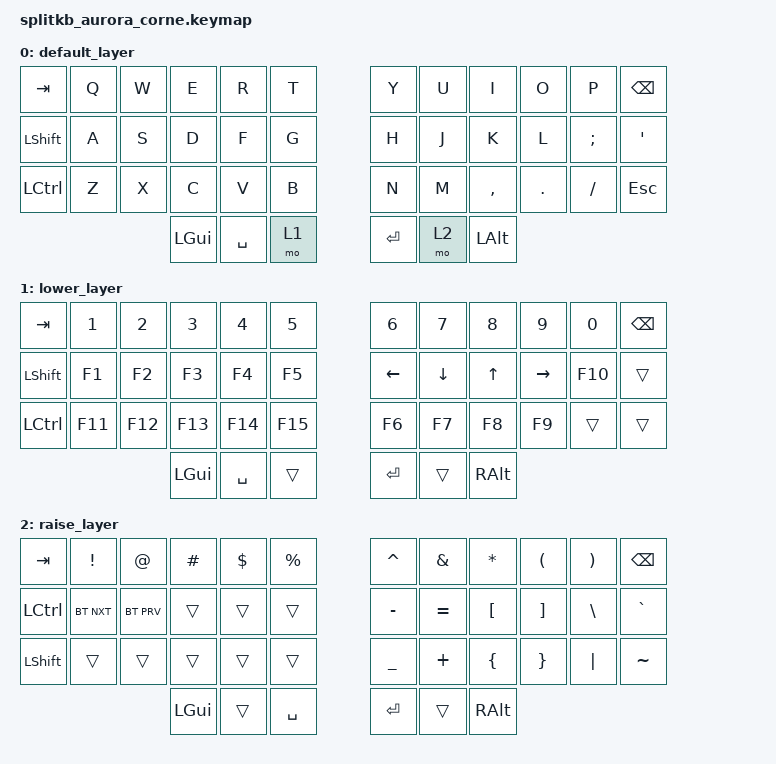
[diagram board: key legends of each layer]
/*
 * Copyright (c) 2020 The ZMK Contributors
 *
 * SPDX-License-Identifier: MIT
 */

#include <behaviors.dtsi>
#include <dt-bindings/zmk/bt.h>
#include <dt-bindings/zmk/keys.h>

/ {
    keymap {
        compatible = "zmk,keymap";

        default_layer {
            // -----------------------------------------------------------------------------------------
            // |  TAB |  Q  |  W  |  E  |  R  |  T  |   |  Y  |  U   |  I  |  O  |  P  | BSPC |
            // | CTRL |  A  |  S  |  D  |  F  |  G  |   |  H  |  J   |  K  |  L  |  ;  |  '   |
            // | SHFT |  Z  |  X  |  C  |  V  |  B  |   |  N  |  M   |  ,  |  .  |  /  | ESC  |
            //                    | GUI | LWR | SPC |   | ENT | RSE  | ALT |

            bindings = <
&kp TAB           &kp Q  &kp W  &kp E     &kp R      &kp T    &kp Y    &kp U  &kp I         &kp O    &kp P     &kp BSPC
&kp LEFT_SHIFT    &kp A  &kp S  &kp D     &kp F      &kp G    &kp H    &kp J  &kp K         &kp L    &kp SEMI  &kp SQT
&kp LEFT_CONTROL  &kp Z  &kp X  &kp C     &kp V      &kp B    &kp N    &kp M  &kp COMMA     &kp DOT  &kp FSLH  &kp ESC
                                &kp LGUI  &kp SPACE  &mo 1    &kp RET  &mo 2  &kp LEFT_ALT
            >;
        };

        lower_layer {
            // -----------------------------------------------------------------------------------------
            // |  TAB |  1  |  2  |  3  |  4  |  5  |   |  6  |  7  |  8  |  9  |  0  | BSPC |
            // | BTCLR| BT1 | BT2 | BT3 | BT4 | BT5 |   | LFT | DWN |  UP | RGT |     |      |
            // | SHFT |     |     |     |     |     |   |     |     |     |     |     |      |
            //                    | GUI |     | SPC |   | ENT |     | ALT |

            bindings = <
&kp TAB           &kp N1   &kp N2   &kp N3    &kp N4     &kp N5     &kp N6    &kp N7    &kp N8        &kp N9     &kp N0   &kp BSPC
&kp LEFT_SHIFT    &kp F1   &kp F2   &kp F3    &kp F4     &kp F5     &kp LEFT  &kp DOWN  &kp UP_ARROW  &kp RIGHT  &kp F10  &trans
&kp LEFT_CONTROL  &kp F11  &kp F12  &kp F13   &kp F14    &kp F15    &kp F6    &kp F7    &kp F8        &kp F9     &trans   &trans
                                    &kp LGUI  &kp SPACE  &trans     &kp RET   &trans    &kp RALT
            >;
        };

        raise_layer {
            // -----------------------------------------------------------------------------------------
            // |  TAB |  !  |  @  |  #  |  $  |  %  |   |  ^  |  &  |  *  |  (  |  )  | BSPC |
            // | CTRL |     |     |     |     |     |   |  -  |  =  |  [  |  ]  |  \  |  `   |
            // | SHFT |     |     |     |     |     |   |  _  |  +  |  {  |  }  | "|" |  ~   |
            //                    | GUI |     | SPC |   | ENT |     | ALT |

            bindings = <
&kp TAB    &kp EXCL    &kp AT      &kp HASH  &kp DLLR  &kp PRCNT    &kp CARET  &kp AMPS   &kp ASTRK  &kp LPAR  &kp RPAR  &kp BSPC
&kp LCTRL  &bt BT_NXT  &bt BT_PRV  &trans    &trans    &trans       &kp MINUS  &kp EQUAL  &kp LBKT   &kp RBKT  &kp BSLH  &kp GRAVE
&kp LSHFT  &trans      &trans      &trans    &trans    &trans       &kp UNDER  &kp PLUS   &kp LBRC   &kp RBRC  &kp PIPE  &kp TILDE
                                   &kp LGUI  &trans    &kp SPACE    &kp RET    &trans     &kp RALT
            >;
        };
    };
};

